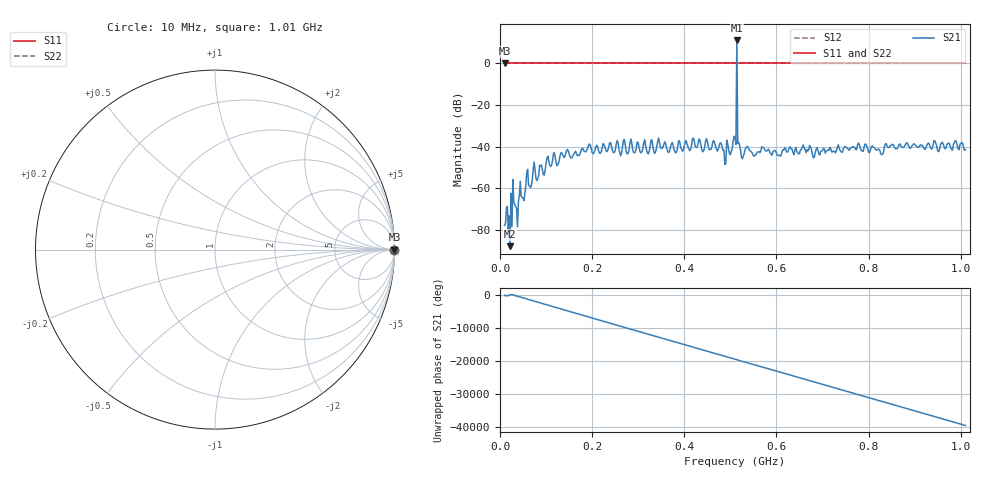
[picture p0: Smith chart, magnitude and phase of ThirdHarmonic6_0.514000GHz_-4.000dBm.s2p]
! 8/15/2025 3:42:21 PM
! C:\ANRITSUVNA\TEMP\TEMP.S2P
! CHANNEL.1
! TR.MEASUREMENT
! RAW.DATA
! RF.CORRECTION.OFF
! AVERAGING.OFF
! IF.BANDWIDTH: 5KHZ
! SWEEPTYPE:  FREQ.SWEEP(Linear)
! Reference Plane Port Info
! PORT:  PORT1  PORT2
! DISTANCE:  0  m  0  m
! TIME:  0  s  0  s
! PHASE.OFFSET:  0  deg.  0  deg.
! LOSS:  0  dB  0  dB
! REF.LOSS:  0  dB  0  dB
! REF.FREQ:  0  Hz  0  Hz
! Power Info
! POWER:  -20  dBm  -20  dBm
! EFF.POWER:  -20  dBm  -20  dBm
! SOURCE.ATTEN:  0  dB  0  dB
! TEST.ATTEN:  0  dB  0  dB
# GHZ S RI R 50.0
! FREQ.GHZ  S11RE  S11IM  S21RE  S21IM  S12RE  S12IM  S22RE  S22IM
!; PortSelection: Port_12
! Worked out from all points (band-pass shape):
!   501 points, 10 MHz to 1.01 GHz, reference 50 ohm
!   highest |S21| = 11.04 dB at 514 MHz (marker M1); lowest = -87.7 dB at 22 MHz (marker M2)
!   |S21| within 3 dB of the highest: 513.8799 MHz to 514.1214 MHz (241.5 kHz wide, 0.047 % of centre)
!   lowest |S11| = 0.0 dB at 10 MHz (marker M3)
!   |S11| at or under -10 dB: nowhere
!   |S22| runs from 0.0 to 0.0 dB; largest |S21 - S12| = 2.6
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0.01  1 0  0.000127 2.77e-05  1 0  1 0
0.022  1 0  -7.2e-06 -4.05e-05  1 0  1 0
0.028  1 0  -4.01e-05 -0.00164  1 0  1 0
0.036  1 0  -0.000306 -0.000134  1 0  1 0
0.044  1 0  -0.000724 -0.00129  1 0  1 0
0.05  1 0  0.000572 -0.000155  1 0  1 0
0.058  1 0  0.0016 0.00178  1 0  1 0
0.074  1 0  0.0015 0.00404  1 0  1 0
0.178  1 0  -0.00914 0.000318  1 0  1 0
0.344  1 0  0.0122 -0.0106  1 0  1 0
0.464  1 0  -0.0134 0.00447  1 0  1 0
0.486  1 0  0.00818 0.000871  1 0  1 0
0.508  1 0  -0.0157 -0.00845  1 0  1 0
0.51  1 0  -0.00528 0.0159  1 0  1 0
0.514  1 0  3.559 0.2143  1 0  1 0
0.518  1 0  -0.00899 0.00907  1 0  1 0
0.52  1 0  0.00785 0.00756  1 0  1 0
0.526  1 0  -0.00514 -0.000116  1 0  1 0
0.536  1 0  -0.00898 0.00479  1 0  1 0
0.678  1 0  -0.00568 -0.00334  1 0  1 0
0.844  1 0  0.00758 0.00585  1 0  1 0
1.01  1 0  -0.00785 -0.00304  1 0  1 0
